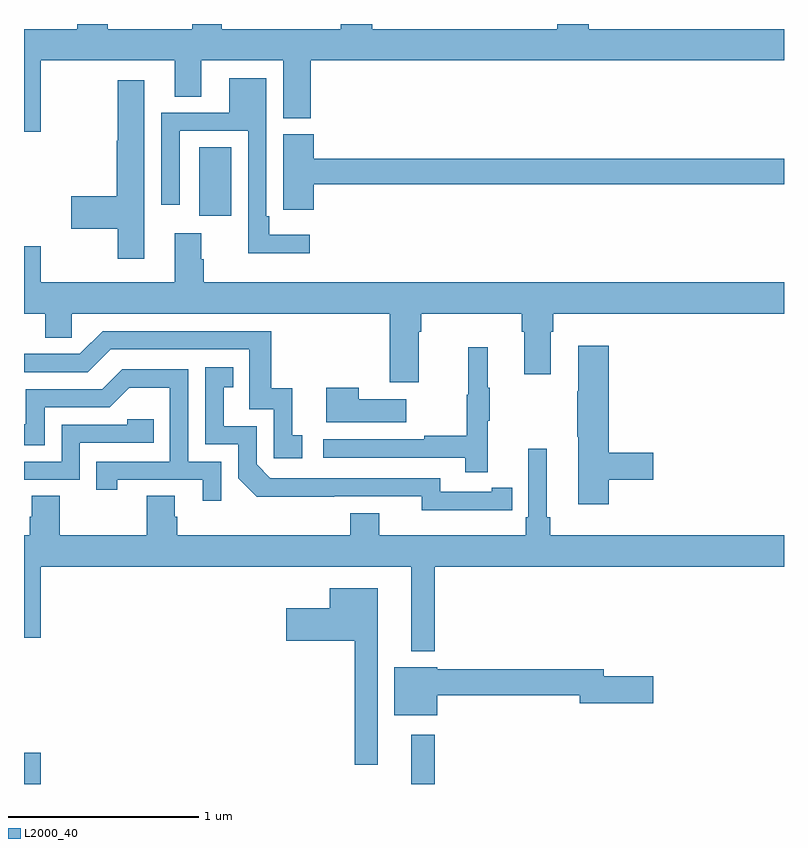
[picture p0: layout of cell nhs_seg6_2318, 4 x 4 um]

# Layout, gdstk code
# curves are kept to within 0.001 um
import gdstk
lib = gdstk.Library(unit=1e-6, precision=1e-09)
def R(c, l, rs):  # rectangles x0, y0, x1, y1
    for r in rs: c.add(gdstk.rectangle(r[:2], r[2:], *l))
def P(c, l, *ps):  # polygons
    for p in ps: c.add(gdstk.Polygon(p, *l))
L2000_40 = (2000, 40)

nhs_seg6_2318 = lib.new_cell('nhs_seg6_2318')
R(nhs_seg6_2318, L2000_40, [(249,971.5,249.088,971.665), (251.039,971.5,251.161,971.758), (249.923,974.49,250.09,974.852)])
P(nhs_seg6_2318, L2000_40, [(249.088,975.308),(249.794,975.308),(249.794,975.118),(249.934,975.118),(249.934,975.308),(250.364,975.308),(250.364,975.004),(250.508,975.004),(250.508,975.308),(253,975.308),(253,975.472),(251.972,975.472),(251.972,975.5),(251.807,975.5),(251.807,975.472),(250.832,975.472),(250.832,975.5),(250.667,975.5),(250.667,975.472),(250.041,975.472),(250.041,975.5),(249.886,975.5),(249.886,975.472),(249.441,975.472),(249.441,975.5),(249.281,975.5),(249.281,975.472),(249,975.472),(249,974.934),(249.088,974.934)],
  [(250.504,974.392),(250.291,974.392),(250.291,974.488),(250.275,974.488),(250.275,975.214),(250.079,975.214),(250.079,975.033),(249.723,975.033),(249.723,974.55),(249.819,974.55),(249.819,974.937),(250.179,974.937),(250.179,974.294),(250.504,974.294)],
  [(249.634,975.205),(249.493,975.205),(249.493,974.885),(249.488,974.885),(249.488,974.594),(249.249,974.594),(249.249,974.423),(249.493,974.423),(249.493,974.265),(249.634,974.265)],
  [(250.526,974.656),(253,974.656),(253,974.792),(250.526,974.792),(250.526,974.919),(250.364,974.919),(250.364,974.635),(250.365,974.635),(250.365,974.523),(250.526,974.523)],
  [(249.947,974.261),(249.934,974.261),(249.934,974.398),(249.794,974.398),(249.794,974.14),(249.088,974.14),(249.088,974.329),(249,974.329),(249,973.976),(249.113,973.976),(249.113,973.849),(249.252,973.849),(249.252,973.976),(250.925,973.976),(250.925,973.614),(251.077,973.614),(251.077,973.88),(251.09,973.88),(251.09,973.976),(251.621,973.976),(251.621,973.88),(251.633,973.88),(251.633,973.656),(251.773,973.656),(251.773,973.88),(251.786,973.88),(251.786,973.976),(253,973.976),(253,974.14),(249.947,974.14)],
  [(250.465,973.335),(250.412,973.335),(250.412,973.582),(250.301,973.582),(250.301,973.884),(249.414,973.884),(249.294,973.764),(249,973.764),(249,973.668),(249.336,973.668),(249.456,973.788),(250.185,973.788),(250.185,973.473),(250.314,973.473),(250.314,973.215),(250.465,973.215)],
  [(252.077,973.102),(252.313,973.102),(252.313,973.244),(252.077,973.244),(252.077,973.807),(251.918,973.807),(251.918,973.568),(251.911,973.568),(251.911,973.327),(251.918,973.327),(251.918,972.972),(252.077,972.972)],
  [(251.441,973.411),(251.452,973.411),(251.452,973.585),(251.441,973.585),(251.441,973.798),(251.338,973.798),(251.338,973.548),(251.331,973.548),(251.331,973.334),(251.107,973.334),(251.107,973.314),(250.575,973.314),(250.575,973.218),(251.323,973.218),(251.323,973.14),(251.441,973.14)],
  [(251.462,972.942),(251.57,972.942),(251.57,973.058),(251.462,973.058),(251.462,973.038),(251.19,973.038),(251.19,973.11),(250.296,973.11),(250.224,973.182),(250.224,973.383),(250.051,973.383),(250.051,973.587),(250.1,973.587),(250.1,973.693),(249.954,973.693),(249.954,973.287),(250.128,973.287),(250.128,973.11),(250.226,973.013),(251.094,973.014),(251.094,972.941)],
  [(250.038,973.197),(249.864,973.197),(249.864,973.683),(249.518,973.683),(249.413,973.578),(249.01,973.578),(249.01,973.393),(249,973.393),(249,973.284),(249.108,973.284),(249.108,973.482),(249.45,973.482),(249.554,973.586),(249.768,973.586),(249.768,973.197),(249.379,973.197),(249.379,973.05),(249.49,973.05),(249.49,973.101),(249.941,973.101),(249.941,972.99),(250.038,972.99)],
  [(251.011,973.525),(250.763,973.525),(250.763,973.585),(250.592,973.585),(250.592,973.403),(251.011,973.403)],
  [(249.294,973.296),(249.683,973.296),(249.683,973.419),(249.543,973.419),(249.543,973.392),(249.198,973.392),(249.198,973.197),(249,973.197),(249,973.101),(249.294,973.101)],
  [(251.161,972.644),(253,972.644),(253,972.808),(251.771,972.808),(251.771,972.904),(251.752,972.904),(251.752,973.264),(251.655,973.264),(251.655,972.904),(251.642,972.904),(251.642,972.808),(250.87,972.808),(250.87,972.925),(250.718,972.925),(250.718,972.808),(249.806,972.808),(249.806,972.906),(249.793,972.906),(249.793,973.016),(249.646,973.016),(249.646,972.808),(249.189,972.808),(249.189,973.016),(249.041,973.016),(249.041,972.906),(249.029,972.906),(249.029,972.808),(249,972.808),(249,972.27),(249.088,972.27),(249.088,972.644),(251.039,972.644),(251.039,972.2),(251.161,972.2)],
  [(250.861,972.529),(250.61,972.529),(250.61,972.424),(250.38,972.424),(250.38,972.254),(250.74,972.254),(250.74,971.601),(250.861,971.601)],
  [(251.176,971.968),(251.924,971.968),(251.924,971.926),(252.313,971.926),(252.313,972.068),(252.052,972.068),(252.052,972.104),(251.176,972.104),(251.176,972.115),(250.949,972.115),(250.949,971.861),(251.176,971.861)])

lib.write_gds('nhs_seg6_2318.gds')
